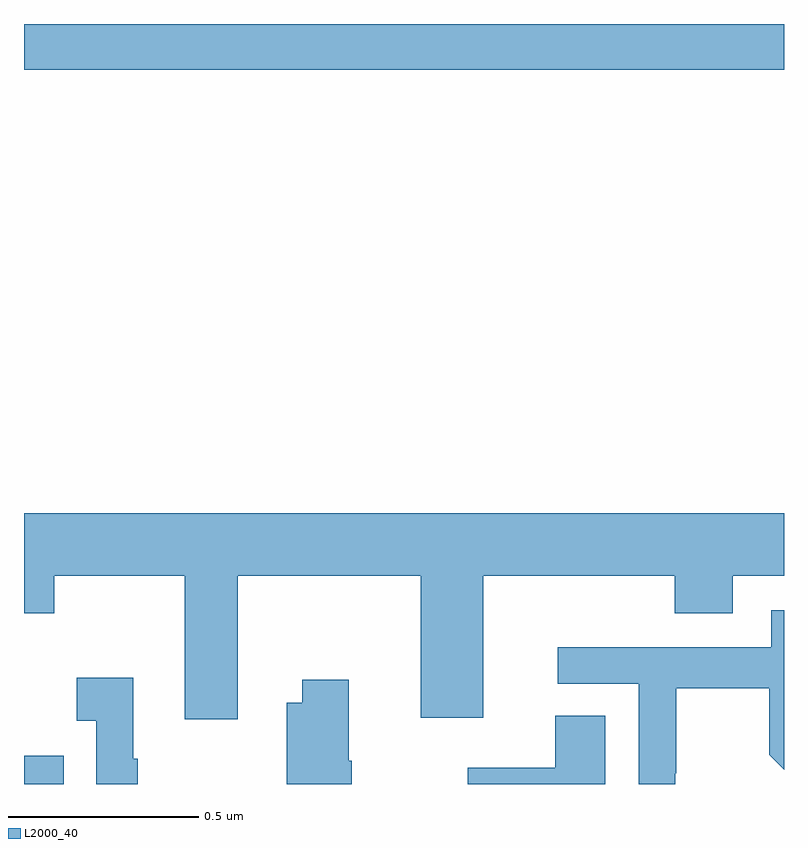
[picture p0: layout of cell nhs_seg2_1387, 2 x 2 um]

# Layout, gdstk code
import gdstk
lib = gdstk.Library(unit=1e-6, precision=1e-09)
def R(c, l, rs):  # rectangles x0, y0, x1, y1
    for r in rs: c.add(gdstk.rectangle(r[:2], r[2:], *l))
def P(c, l, *ps):  # polygons
    for p in ps: c.add(gdstk.Polygon(p, *l))
L2000_40 = (2000, 40)

nhs_seg2_1387 = lib.new_cell('nhs_seg2_1387')
R(nhs_seg2_1387, L2000_40, [(128,601.8,128.105,601.875), (128,603.68,130,603.8)])
P(nhs_seg2_1387, L2000_40, [(128.563,602.348),(129.044,602.348),(129.044,601.974),(129.208,601.974),(129.208,602.348),(129.713,602.348),(129.713,602.249),(129.865,602.249),(129.865,602.348),(130,602.348),(130,602.512),(128,602.512),(128,602.249),(128.079,602.249),(128.079,602.348),(128.423,602.348),(128.423,601.971),(128.563,601.971)],
  [(129.714,601.828),(129.717,601.828),(129.717,602.052),(129.961,602.052),(129.961,601.877),(130,601.838),(130,602.257),(129.966,602.257),(129.966,602.16),(129.405,602.16),(129.405,602.064),(129.618,602.064),(129.618,601.8),(129.714,601.8)],
  [(128.299,601.867),(128.287,601.867),(128.287,602.08),(128.139,602.08),(128.139,601.967),(128.19,601.967),(128.19,601.8),(128.299,601.8)],
  [(128.862,601.861),(128.854,601.861),(128.854,602.074),(128.732,602.074),(128.732,602.014),(128.692,602.014),(128.692,601.8),(128.862,601.8)],
  [(129.529,601.979),(129.398,601.979),(129.398,601.843),(129.168,601.843),(129.168,601.8),(129.529,601.8)])

lib.write_gds('nhs_seg2_1387.gds')
